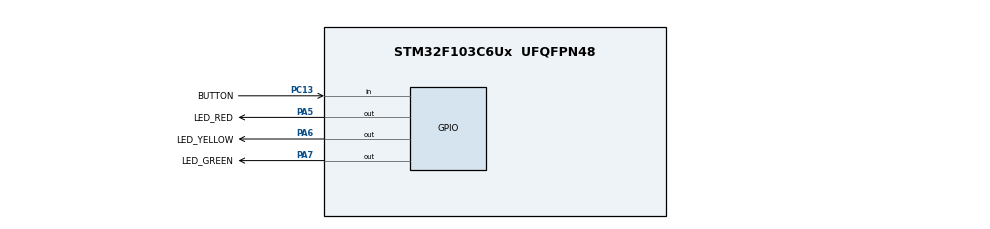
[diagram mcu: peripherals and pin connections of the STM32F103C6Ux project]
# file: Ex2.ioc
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Mcu.Family=STM32F1
Mcu.Name=STM32F103C6Ux
Mcu.Package=UFQFPN48
NVIC.PriorityGroup=NVIC_PRIORITYGROUP_4
PA5.GPIO_Label=LED_RED
PA5.Signal=GPIO_Output
PA6.GPIO_Label=LED_YELLOW
PA6.Signal=GPIO_Output
PA7.GPIO_Label=LED_GREEN
PA7.Signal=GPIO_Output
PC13-TAMPER-RTC.GPIO_Label=BUTTON
PC13-TAMPER-RTC.GPIO_PuPd=GPIO_PULLUP
PC13-TAMPER-RTC.Signal=GPIO_Input
ProjectManager.HeapSize=0x200
ProjectManager.StackSize=0x400
ProjectManager.TargetToolchain=STM32CubeIDE
RCC.APB1Freq_Value=8000000
RCC.APB2Freq_Value=8000000
VP_SYS_VS_ND.Mode=No_Debug
board=custom

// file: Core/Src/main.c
/* USER CODE BEGIN Header */
/**
  ******************************************************************************
  * @file           : main.c
  * @brief          : Main program body
  ******************************************************************************
  * @attention
  *
  * <h2><center>&copy; Copyright (c) 2022 STMicroelectronics.
  * All rights reserved.</center></h2>
  *
  * This software component is licensed by ST under BSD 3-Clause license,
  * the "License"; You may not use this file except in compliance with the
  * License. You may obtain a copy of the License at:
  *                        opensource.org/licenses/BSD-3-Clause
  *
  ******************************************************************************
  */
/* USER CODE END Header */
#include "main.h"

void SystemClock_Config(void);
static void MX_GPIO_Init(void);

int main(void)
{

  /* MCU Configuration--------------------------------------------------------*/

  /* Reset of all peripherals, Initializes the Flash interface and the Systick. */
  HAL_Init();

  /* Configure the system clock */
  SystemClock_Config();

  /* Initialize all configured peripherals */
  MX_GPIO_Init();

  /* Infinite loop */
  /* USER CODE BEGIN WHILE */
  int count_red = 5;
  int count_green;
  int count_yellow;
      while (1)
      {
        if (count_red == 5) {
    	  HAL_GPIO_WritePin(LED_RED_GPIO_Port, LED_RED_Pin, RESET);
    	  HAL_GPIO_WritePin(LED_YELLOW_GPIO_Port, LED_YELLOW_Pin, SET);
    	  HAL_GPIO_WritePin(LED_GREEN_GPIO_Port, LED_GREEN_Pin, SET);
        }
        count_red--;

    	  if (count_red == 0) {
    		HAL_GPIO_WritePin(LED_RED_GPIO_Port, LED_RED_Pin, SET);
    		HAL_GPIO_WritePin(LED_GREEN_GPIO_Port, LED_GREEN_Pin, RESET);
    		count_green = 3;
    	  }
    	  count_green--;

    	  if (count_green == 0) {
    		HAL_GPIO_WritePin(LED_GREEN_GPIO_Port, LED_GREEN_Pin, SET);
    		HAL_GPIO_WritePin(LED_YELLOW_GPIO_Port, LED_YELLOW_Pin, RESET);
    		count_yellow = 2;
    	  }
    	  count_yellow--;

    	  if (count_yellow == 0) {
    		  count_red = 5;
    	  }
    	  HAL_Delay(1000);

      /* USER CODE END WHILE */

    }
}

void SystemClock_Config(void)
{
  RCC_OscInitTypeDef RCC_OscInitStruct = {0};
  RCC_ClkInitTypeDef RCC_ClkInitStruct = {0};

  /** Initializes the RCC Oscillators according to the specified parameters
  * in the RCC_OscInitTypeDef structure.
  */
  RCC_OscInitStruct.OscillatorType = RCC_OSCILLATORTYPE_HSI;
  RCC_OscInitStruct.HSIState = RCC_HSI_ON;
  RCC_OscInitStruct.HSICalibrationValue = RCC_HSICALIBRATION_DEFAULT;
  RCC_OscInitStruct.PLL.PLLState = RCC_PLL_NONE;
  if (HAL_RCC_OscConfig(&RCC_OscInitStruct) != HAL_OK)
  {
    Error_Handler();
  }
  /** Initializes the CPU, AHB and APB buses clocks
  */
  RCC_ClkInitStruct.ClockType = RCC_CLOCKTYPE_HCLK|RCC_CLOCKTYPE_SYSCLK
                              |RCC_CLOCKTYPE_PCLK1|RCC_CLOCKTYPE_PCLK2;
  RCC_ClkInitStruct.SYSCLKSource = RCC_SYSCLKSOURCE_HSI;
  RCC_ClkInitStruct.AHBCLKDivider = RCC_SYSCLK_DIV1;
  RCC_ClkInitStruct.APB1CLKDivider = RCC_HCLK_DIV1;
  RCC_ClkInitStruct.APB2CLKDivider = RCC_HCLK_DIV1;

  if (HAL_RCC_ClockConfig(&RCC_ClkInitStruct, FLASH_LATENCY_0) != HAL_OK)
  {
    Error_Handler();
  }
}

static void MX_GPIO_Init(void)
{
  GPIO_InitTypeDef GPIO_InitStruct = {0};

  /* GPIO Ports Clock Enable */
  __HAL_RCC_GPIOC_CLK_ENABLE();
  __HAL_RCC_GPIOA_CLK_ENABLE();

  /*Configure GPIO pin Output Level */
  HAL_GPIO_WritePin(GPIOA, LED_RED_Pin|LED_YELLOW_Pin|LED_GREEN_Pin, GPIO_PIN_RESET);

  /*Configure GPIO pin : BUTTON_Pin */
  GPIO_InitStruct.Pin = BUTTON_Pin;
  GPIO_InitStruct.Mode = GPIO_MODE_INPUT;
  GPIO_InitStruct.Pull = GPIO_PULLUP;
  HAL_GPIO_Init(BUTTON_GPIO_Port, &GPIO_InitStruct);

  /*Configure GPIO pins : LED_RED_Pin LED_YELLOW_Pin LED_GREEN_Pin */
  GPIO_InitStruct.Pin = LED_RED_Pin|LED_YELLOW_Pin|LED_GREEN_Pin;
  GPIO_InitStruct.Mode = GPIO_MODE_OUTPUT_PP;
  GPIO_InitStruct.Pull = GPIO_NOPULL;
  GPIO_InitStruct.Speed = GPIO_SPEED_FREQ_LOW;
  HAL_GPIO_Init(GPIOA, &GPIO_InitStruct);

}

void Error_Handler(void)
{
  __disable_irq();
  while (1)
  {
  }
}

/************************ (C) COPYRIGHT STMicroelectronics *****END OF FILE****/
